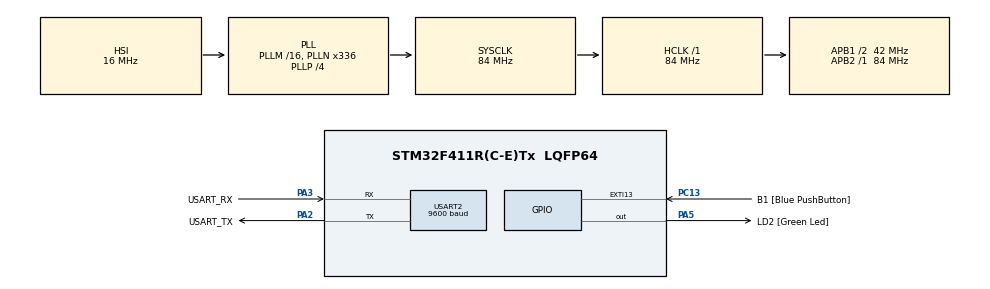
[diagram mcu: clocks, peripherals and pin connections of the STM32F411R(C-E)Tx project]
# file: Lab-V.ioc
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Dma.Request0=USART2_RX
Dma.Request1=USART2_TX
Dma.USART2_RX.0.Direction=DMA_PERIPH_TO_MEMORY
Dma.USART2_RX.0.FIFOMode=DMA_FIFOMODE_DISABLE
Dma.USART2_RX.0.Instance=DMA1_Stream5
Dma.USART2_RX.0.MemDataAlignment=DMA_MDATAALIGN_BYTE
Dma.USART2_RX.0.MemInc=DMA_MINC_ENABLE
Dma.USART2_RX.0.Mode=DMA_CIRCULAR
Dma.USART2_RX.0.PeriphDataAlignment=DMA_PDATAALIGN_BYTE
Dma.USART2_RX.0.PeriphInc=DMA_PINC_DISABLE
Dma.USART2_RX.0.Priority=DMA_PRIORITY_LOW
Dma.USART2_TX.1.Direction=DMA_MEMORY_TO_PERIPH
Dma.USART2_TX.1.FIFOMode=DMA_FIFOMODE_DISABLE
Dma.USART2_TX.1.Instance=DMA1_Stream6
Dma.USART2_TX.1.MemDataAlignment=DMA_MDATAALIGN_BYTE
Dma.USART2_TX.1.MemInc=DMA_MINC_ENABLE
Dma.USART2_TX.1.Mode=DMA_NORMAL
Dma.USART2_TX.1.PeriphDataAlignment=DMA_PDATAALIGN_BYTE
Dma.USART2_TX.1.PeriphInc=DMA_PINC_DISABLE
Dma.USART2_TX.1.Priority=DMA_PRIORITY_LOW
Mcu.Family=STM32F4
Mcu.Name=STM32F411R(C-E)Tx
Mcu.Package=LQFP64
NVIC.DMA1_Stream5_IRQn=true\:0\:0\:false\:false\:true\:false\:true\:true
NVIC.DMA1_Stream6_IRQn=true\:0\:0\:false\:false\:true\:false\:true\:true
NVIC.PriorityGroup=NVIC_PRIORITYGROUP_0
NVIC.USART2_IRQn=true\:0\:0\:false\:false\:true\:true\:true\:true
PA13.GPIO_Label=TMS
PA13.Mode=Serial_Wire
PA13.Signal=SYS_JTMS-SWDIO
PA14.GPIO_Label=TCK
PA14.Mode=Serial_Wire
PA14.Signal=SYS_JTCK-SWCLK
PA2.GPIO_Label=USART_TX
PA2.Mode=Asynchronous
PA2.Signal=USART2_TX
PA3.GPIO_Label=USART_RX
PA3.Mode=Asynchronous
PA3.Signal=USART2_RX
PA5.GPIO_Label=LD2 [Green Led]
PA5.Signal=GPIO_Output
PB3.GPIO_Label=SWO
PB3.Signal=SYS_JTDO-SWO
PC13-ANTI_TAMP.GPIO_Label=B1 [Blue PushButton]
PC13-ANTI_TAMP.GPIO_ModeDefaultEXTI=GPIO_MODE_IT_FALLING
PC13-ANTI_TAMP.Signal=GPXTI13
PC14-OSC32_IN.Mode=LSE-External-Oscillator
PC14-OSC32_IN.Signal=RCC_OSC32_IN
PC15-OSC32_OUT.Mode=LSE-External-Oscillator
PC15-OSC32_OUT.Signal=RCC_OSC32_OUT
PH0\ -\ OSC_IN.Mode=HSE-External-Clock-Source
PH0\ -\ OSC_IN.Signal=RCC_OSC_IN
PH1\ -\ OSC_OUT.Mode=HSE-External-Clock-Source
PH1\ -\ OSC_OUT.Signal=RCC_OSC_OUT
ProjectManager.HeapSize=0x200
ProjectManager.StackSize=0x400
ProjectManager.TargetToolchain=STM32CubeIDE
RCC.48MHZClocksFreq_Value=84000000
RCC.AHBFreq_Value=84000000
RCC.APB1CLKDivider=RCC_HCLK_DIV2
RCC.APB1Freq_Value=42000000
RCC.APB1TimFreq_Value=84000000
RCC.APB2Freq_Value=84000000
RCC.APB2TimFreq_Value=84000000
RCC.CortexFreq_Value=84000000
RCC.FLatency-AdvancedSettings=FLASH_LATENCY_2
RCC.HCLKFreq_Value=84000000
RCC.HSE_VALUE=8000000
RCC.HSI_VALUE=16000000
RCC.PLLN=336
RCC.PLLP=RCC_PLLP_DIV4
RCC.SYSCLKFreq_VALUE=84000000
RCC.SYSCLKSource=RCC_SYSCLKSOURCE_PLLCLK
RCC.VCOOutputFreq_Value=336000000
USART2.BaudRate=9600
USART2.VirtualMode=VM_ASYNC
board=NUCLEO-F411RE

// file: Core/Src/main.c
/* USER CODE BEGIN Header */
/**
  ******************************************************************************
  * @file           : main.c
  * @brief          : Main program body
  ******************************************************************************
  * @attention
  *
  * Copyright (c) 2023 STMicroelectronics.
  * All rights reserved.
  *
  * This software is licensed under terms that can be found in the LICENSE file
  * in the root directory of this software component.
  * If no LICENSE file comes with this software, it is provided AS-IS.
  *
  ******************************************************************************
  */
/* USER CODE END Header */
#include "main.h"

/* USER CODE BEGIN Includes */
#include "stdio.h"
#include "string.h"
/* USER CODE END Includes */

UART_HandleTypeDef huart2;
DMA_HandleTypeDef hdma_usart2_rx;
DMA_HandleTypeDef hdma_usart2_tx;

/* USER CODE BEGIN PV */
uint8_t RxBuffer[20];
uint8_t TxBuffer[200];
int F = 1;
int led_s = 1;
int C_Button;
int L_Button;
int state = 2;
char x;
int press;
uint8_t led_option[55];
/* USER CODE END PV */

void SystemClock_Config(void);
static void MX_GPIO_Init(void);
static void MX_DMA_Init(void);
static void MX_USART2_UART_Init(void);
/* USER CODE BEGIN PFP */
void LEDMenu();
void UARTDMA();
void LED_Control();
void Button_Status();
/* USER CODE END PFP */

int main(void)
{

  /* MCU Configuration--------------------------------------------------------*/

  /* Reset of all peripherals, Initializes the Flash interface and the Systick. */
  HAL_Init();

  /* Configure the system clock */
  SystemClock_Config();

  /* Initialize all configured peripherals */
  MX_GPIO_Init();
  MX_DMA_Init();
  MX_USART2_UART_Init();
  /* USER CODE BEGIN 2 */

  uint8_t text[] = "Menu\r\n"
		  	  	   "0:LED\r\n"
		  	  	   "1:Button\r\n";
  uint8_t led_option[55] = "a:Speed Up +1Hz\r\n"
					   	 "s:Speed Down -1Hz\r\n"
		  	  	  	  	 "d:On/Off\r\n"
		  	  	  	  	 "x:Back\r\n";

  HAL_UART_Transmit(&huart2, text, 24, HAL_MAX_DELAY);

  /* USER CODE END 2 */

  /* Infinite loop */
  /* USER CODE BEGIN WHILE */
  while (1)
  {

	  UARTDMA();
	  LEDMenu();
	  switch(state)
	  {
	  case 0: // led-options
		  LED_Control();
		  break;
	  case 1: // botton-status
		  Button_Status();
		  break;
	  }
    /* USER CODE END WHILE */

  }
}

void SystemClock_Config(void)
{
  RCC_OscInitTypeDef RCC_OscInitStruct = {0};
  RCC_ClkInitTypeDef RCC_ClkInitStruct = {0};

  /** Configure the main internal regulator output voltage
  */
  __HAL_RCC_PWR_CLK_ENABLE();
  __HAL_PWR_VOLTAGESCALING_CONFIG(PWR_REGULATOR_VOLTAGE_SCALE1);

  /** Initializes the RCC Oscillators according to the specified parameters
  * in the RCC_OscInitTypeDef structure.
  */
  RCC_OscInitStruct.OscillatorType = RCC_OSCILLATORTYPE_HSI;
  RCC_OscInitStruct.HSIState = RCC_HSI_ON;
  RCC_OscInitStruct.HSICalibrationValue = RCC_HSICALIBRATION_DEFAULT;
  RCC_OscInitStruct.PLL.PLLState = RCC_PLL_ON;
  RCC_OscInitStruct.PLL.PLLSource = RCC_PLLSOURCE_HSI;
  RCC_OscInitStruct.PLL.PLLM = 16;
  RCC_OscInitStruct.PLL.PLLN = 336;
  RCC_OscInitStruct.PLL.PLLP = RCC_PLLP_DIV4;
  RCC_OscInitStruct.PLL.PLLQ = 4;
  if (HAL_RCC_OscConfig(&RCC_OscInitStruct) != HAL_OK)
  {
    Error_Handler();
  }

  /** Initializes the CPU, AHB and APB buses clocks
  */
  RCC_ClkInitStruct.ClockType = RCC_CLOCKTYPE_HCLK|RCC_CLOCKTYPE_SYSCLK
                              |RCC_CLOCKTYPE_PCLK1|RCC_CLOCKTYPE_PCLK2;
  RCC_ClkInitStruct.SYSCLKSource = RCC_SYSCLKSOURCE_PLLCLK;
  RCC_ClkInitStruct.AHBCLKDivider = RCC_SYSCLK_DIV1;
  RCC_ClkInitStruct.APB1CLKDivider = RCC_HCLK_DIV2;
  RCC_ClkInitStruct.APB2CLKDivider = RCC_HCLK_DIV1;

  if (HAL_RCC_ClockConfig(&RCC_ClkInitStruct, FLASH_LATENCY_2) != HAL_OK)
  {
    Error_Handler();
  }
}

static void MX_USART2_UART_Init(void)
{

  huart2.Instance = USART2;
  huart2.Init.BaudRate = 9600;
  huart2.Init.WordLength = UART_WORDLENGTH_8B;
  huart2.Init.StopBits = UART_STOPBITS_1;
  huart2.Init.Parity = UART_PARITY_NONE;
  huart2.Init.Mode = UART_MODE_TX_RX;
  huart2.Init.HwFlowCtl = UART_HWCONTROL_NONE;
  huart2.Init.OverSampling = UART_OVERSAMPLING_16;
  if (HAL_UART_Init(&huart2) != HAL_OK)
  {
    Error_Handler();
  }

}

static void MX_DMA_Init(void)
{

  /* DMA controller clock enable */
  __HAL_RCC_DMA1_CLK_ENABLE();

  /* DMA interrupt init */
  /* DMA1_Stream5_IRQn interrupt configuration */
  HAL_NVIC_SetPriority(DMA1_Stream5_IRQn, 0, 0);
  HAL_NVIC_EnableIRQ(DMA1_Stream5_IRQn);
  /* DMA1_Stream6_IRQn interrupt configuration */
  HAL_NVIC_SetPriority(DMA1_Stream6_IRQn, 0, 0);
  HAL_NVIC_EnableIRQ(DMA1_Stream6_IRQn);

}

static void MX_GPIO_Init(void)
{
  GPIO_InitTypeDef GPIO_InitStruct = {0};

  /* GPIO Ports Clock Enable */
  __HAL_RCC_GPIOC_CLK_ENABLE();
  __HAL_RCC_GPIOH_CLK_ENABLE();
  __HAL_RCC_GPIOA_CLK_ENABLE();
  __HAL_RCC_GPIOB_CLK_ENABLE();

  /*Configure GPIO pin Output Level */
  HAL_GPIO_WritePin(LD2_GPIO_Port, LD2_Pin, GPIO_PIN_RESET);

  /*Configure GPIO pin : B1_Pin */
  GPIO_InitStruct.Pin = B1_Pin;
  GPIO_InitStruct.Mode = GPIO_MODE_IT_FALLING;
  GPIO_InitStruct.Pull = GPIO_NOPULL;
  HAL_GPIO_Init(B1_GPIO_Port, &GPIO_InitStruct);

  /*Configure GPIO pin : LD2_Pin */
  GPIO_InitStruct.Pin = LD2_Pin;
  GPIO_InitStruct.Mode = GPIO_MODE_OUTPUT_PP;
  GPIO_InitStruct.Pull = GPIO_NOPULL;
  GPIO_InitStruct.Speed = GPIO_SPEED_FREQ_LOW;
  HAL_GPIO_Init(LD2_GPIO_Port, &GPIO_InitStruct);

}

/* USER CODE BEGIN 4 */
void LEDMenu()
{
	static uint32_t timestamp = 0;
	if(HAL_GetTick() >= timestamp)
	{

		timestamp = HAL_GetTick() + (1000/F);

		switch(led_s)
		{
		case 0:
			HAL_GPIO_WritePin(GPIOA, GPIO_PIN_5,GPIO_PIN_RESET);
			break;
		case 1:
			HAL_GPIO_TogglePin(LD2_GPIO_Port, LD2_Pin);
			break;
		}
	}

}
void UARTDMA()
{
	HAL_UART_Receive_DMA(&huart2, RxBuffer, 1);
}
void HAL_UART_RxCpltCallback(UART_HandleTypeDef *huart)
{
	if(huart == &huart2)
	{
		RxBuffer[1] = '\0';

		sprintf((char*)TxBuffer, "Received : %s\r\n", RxBuffer);
		HAL_UART_Transmit_DMA(&huart2, TxBuffer, strlen((char*)TxBuffer));
	}

	x = RxBuffer[0];
	if(state == 2)
	{
		if(RxBuffer[0] == '0')
		{
			state = 0;

			sprintf((char*)TxBuffer, "a:Speed Up +1Hz\r\n"
		  	  	  	   	   	   	     "s:Speed Down -1Hz\r\n"
									 "d:On/Off\r\n"
		  	  	  	   	   	   	     "x:Back\r\n");
			HAL_UART_Transmit_DMA(&huart2, TxBuffer, strlen((char*)TxBuffer));
		}
		else if(RxBuffer[0] == '1')
		{
			state = 1;
			uint8_t button_option[] = "x:Back\r\n";

			HAL_UART_Transmit(&huart2, button_option, 9, 1000);
		}
	}
}
void LED_Control()
{
	C_Button = 0;
	if((x == 97 || x == 115 || x == 100 || x == 120) && L_Button == 0)
	{
		C_Button = 1;
		if(x == 97)//a
		{
			F++;
			sprintf((char*)TxBuffer, "Freq  = %d\r\n", F);
			HAL_UART_Transmit_DMA(&huart2, TxBuffer, strlen((char*)TxBuffer));
		}
		else if(x == 115)//s
		{
			F--;
		}
		else if(x == 120)//x
		{
			state = 2;
		}
		else if(x == 100 && led_s == 1)//d Off
		{
			led_s = 0;

		}
		else if(x == 100 && led_s == 0)//d On
		{
			led_s = 1;

		}
	}
	x = 0;
	L_Button = C_Button;
}

void Button_Status()
{
	C_Button = HAL_GPIO_ReadPin(GPIOC, GPIO_PIN_13);
	if(C_Button != L_Button)
	{
		if(C_Button == 0) //Press
		{
			press = 1;
		}
		else if(C_Button == 1) // Unpress
		{
			press = 0;
		}
		else if(x == 120) //back
		{
			state = 2;
		}
	}
	L_Button = C_Button;

}

/* USER CODE END 4 */

void Error_Handler(void)
{
  __disable_irq();
  while (1)
  {
  }
}
